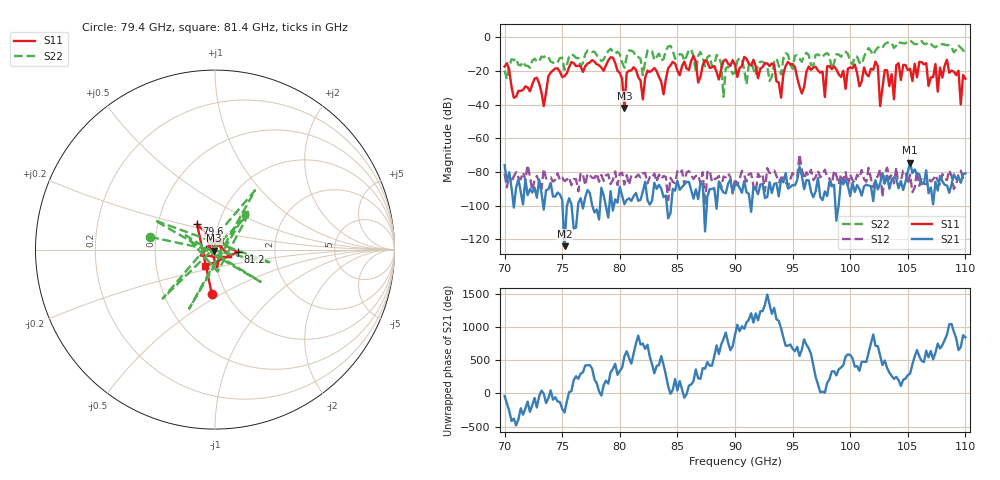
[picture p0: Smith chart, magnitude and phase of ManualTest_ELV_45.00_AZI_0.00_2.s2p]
! 11/25/2026 12:59:29 PM
! C:\ANRITSUVNA\TEMP\TEMP.S2P
! CHANNEL.1
! TR.MEASUREMENT
! RAW.DATA
# HZ S RI R 50.0
! FREQ.HZ  S11RE  S11IM  S21RE  S21IM  S12RE  S12IM  S22RE  S22IM
!; PortSelection: Port_12
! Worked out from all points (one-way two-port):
!   201 points, 70 GHz to 110 GHz, reference 50 ohm
!   highest |S21| = -74.53 dB at 105.2 GHz (marker M1); lowest = -124.0 dB at 75.2 GHz (marker M2)
!   lowest |S11| = -42.0 dB at 80.4 GHz (marker M3), VSWR 1.02, Z = 49.5 - j0.582 ohm
!   |S11| at or under -10 dB: start of sweep to end of sweep
!   |S22| runs from -35.4 to -2.0 dB; largest |S21 - S12| = 0.00047
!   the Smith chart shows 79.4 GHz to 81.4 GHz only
!   S11 on the Smith chart (normalised r, x): 79.4 GHz: 0.86, -0.45; 79.6 GHz: 0.79, +0.23; 81.2 GHz: 1.29, -0.04; 81.4 GHz: 0.88, -0.17
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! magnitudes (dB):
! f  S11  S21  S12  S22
! 70 GHz  -17.4  -76.0  -81.1  -19.8
! 73.4 GHz  -40.9  -102.3  -78.1  -11.8
! 75.2 GHz  -23.2  -124.0  -85.4  -19.4
! 76.8 GHz  -20.6  -101.6  -81.4  -15.4
! 79.4 GHz  -12.2  -102.9  -84.7  -8.7
! 79.6 GHz  -15.3  -96.3  -79.7  -9.8
! 80.4 GHz  -42.0  -99.1  -87.4  -18.2
! 81.2 GHz  -17.9  -94.4  -82.6  -8.9
! 81.4 GHz  -19.3  -92.4  -83.1  -11.6
! 82 GHz  -36.9  -91.5  -80.8  -22.6
! 83.4 GHz  -23.6  -87.5  -81.5  -9.7
! 88.6 GHz  -25.1  -85.6  -82.3  -11.5
! 89 GHz  -14.1  -92.1  -82.7  -35.4
! 90 GHz  -16.4  -87.7  -83.9  -20.8
! 93.4 GHz  -16.3  -87.1  -79.1  -14.7
! 94 GHz  -35.9  -84.3  -83.3  -22.1
! 94.6 GHz  -14.8  -89.8  -88.5  -10.3
! 95.8 GHz  -33.4  -82.1  -78.7  -14.6
! 96.8 GHz  -18.0  -95.0  -84.8  -16.9
! 103.4 GHz  -29.1  -89.9  -84.2  -2.9
! 105.2 GHz  -18.8  -74.5  -81.6  -2.0
! 110 GHz  -24.6  -80.8  -81.3  -10.4
